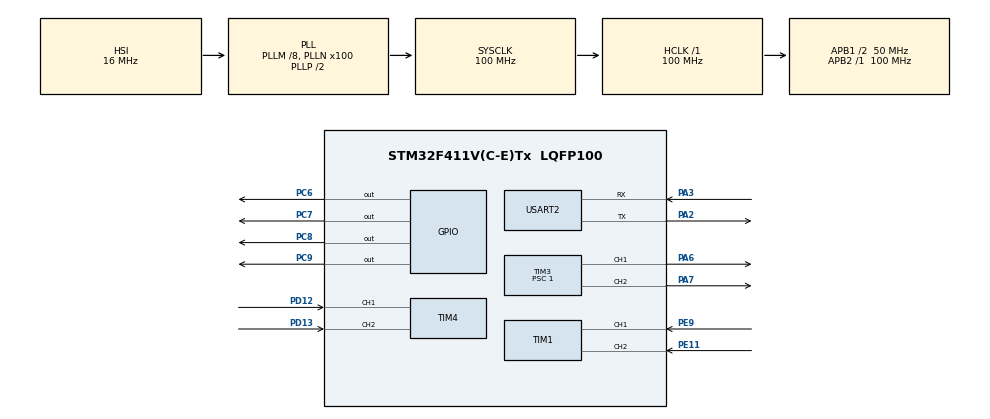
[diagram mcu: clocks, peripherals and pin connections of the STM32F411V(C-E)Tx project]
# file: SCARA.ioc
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Mcu.Family=STM32F4
Mcu.Name=STM32F411V(C-E)Tx
Mcu.Package=LQFP100
NVIC.PriorityGroup=NVIC_PRIORITYGROUP_4
NVIC.USART2_IRQn=true\:0\:0\:true\:false\:true\:true\:true
PA2.Mode=Asynchronous
PA2.Signal=USART2_TX
PA3.Mode=Asynchronous
PA3.Signal=USART2_RX
PA6.Signal=S_TIM3_CH1
PA7.Signal=S_TIM3_CH2
PC6.GPIO_Speed=GPIO_SPEED_FREQ_HIGH
PC6.Signal=GPIO_Output
PC7.GPIO_Speed=GPIO_SPEED_FREQ_HIGH
PC7.Signal=GPIO_Output
PC8.GPIO_Speed=GPIO_SPEED_FREQ_HIGH
PC8.Signal=GPIO_Output
PC9.GPIO_Speed=GPIO_SPEED_FREQ_HIGH
PC9.Signal=GPIO_Output
PD12.Signal=S_TIM4_CH1
PD13.Signal=S_TIM4_CH2
PE11.Signal=S_TIM1_CH2
PE9.Signal=S_TIM1_CH1
ProjectManager.HeapSize=0x200
ProjectManager.StackSize=0x400
ProjectManager.TargetToolchain=STM32CubeIDE
RCC.48MHZClocksFreq_Value=50000000
RCC.AHBFreq_Value=100000000
RCC.APB1CLKDivider=RCC_HCLK_DIV2
RCC.APB1Freq_Value=50000000
RCC.APB1TimFreq_Value=100000000
RCC.APB2Freq_Value=100000000
RCC.APB2TimFreq_Value=100000000
RCC.CortexFreq_Value=100000000
RCC.HCLKFreq_Value=100000000
RCC.HSE_VALUE=25000000
RCC.HSI_VALUE=16000000
RCC.LSE_VALUE=32768
RCC.PLLM=8
RCC.PLLN=100
RCC.SYSCLKFreq_VALUE=100000000
RCC.SYSCLKSource=RCC_SYSCLKSOURCE_PLLCLK
RCC.VCOOutputFreq_Value=200000000
SH.S_TIM1_CH1.0=TIM1_CH1,Encoder_Interface
SH.S_TIM1_CH2.0=TIM1_CH2,Encoder_Interface
SH.S_TIM3_CH1.0=TIM3_CH1,PWM Generation1 CH1
SH.S_TIM3_CH2.0=TIM3_CH2,PWM Generation2 CH2
SH.S_TIM4_CH1.0=TIM4_CH1,Encoder_Interface
SH.S_TIM4_CH2.0=TIM4_CH2,Encoder_Interface
TIM1.EncoderMode=TIM_ENCODERMODE_TI12
TIM3.Channel-PWM\ Generation1\ CH1=TIM_CHANNEL_1
TIM3.Channel-PWM\ Generation2\ CH2=TIM_CHANNEL_2
TIM3.OCFastMode_PWM-PWM\ Generation1\ CH1=TIM_OCFAST_DISABLE
TIM3.Period=254
TIM3.Prescaler=1
TIM3.Pulse-PWM\ Generation1\ CH1=0
TIM4.EncoderMode=TIM_ENCODERMODE_TI12
TIM4.IC1Filter=15
TIM4.IC2Filter=15
USART2.VirtualMode=VM_ASYNC
board=custom

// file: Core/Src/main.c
/* USER CODE BEGIN Header */
/**
  ******************************************************************************
  * @file           : main.c
  * @brief          : Main program body
  ******************************************************************************
  * @attention
  *
  * <h2><center>&copy; Copyright (c) 2021 STMicroelectronics.
  * All rights reserved.</center></h2>
  *
  * This software component is licensed by ST under BSD 3-Clause license,
  * the "License"; You may not use this file except in compliance with the
  * License. You may obtain a copy of the License at:
  *                        opensource.org/licenses/BSD-3-Clause
  *
  ******************************************************************************
  */
/* USER CODE END Header */
#include "main.h"

/* USER CODE BEGIN Includes */
#include "dc_driver.h"
#include "pid.h"
#include <stdio.h>
#include <stdlib.h>
/* USER CODE END Includes */

/* USER CODE BEGIN PD */
#define ENC_ZERO 32768
/* USER CODE END PD */

TIM_HandleTypeDef htim1;
TIM_HandleTypeDef htim3;
TIM_HandleTypeDef htim4;

UART_HandleTypeDef huart2;

/* USER CODE BEGIN PV */
long int ENCODER_POS, ENCODER_POS1;
volatile int flagTIM2 = 0;
int flagaMOVE = 0;
float u, u1;
int check;

//zmienne do obsługi komunikacji
volatile char rxBuf[50]; // Holding buffer with space for terminating NUL
volatile int cnt = 0;
volatile int flaga = 0;
volatile uint8_t str;
long int rPosition,rPosition1;
char buffer[24];

//zmienne do obsługi parsowania
int Data[3];
char id = 'a';
volatile int flagaParse = 0;
/* USER CODE END PV */

void SystemClock_Config(void);
static void MX_GPIO_Init(void);
static void MX_TIM3_Init(void);
static void MX_TIM4_Init(void);
static void MX_USART2_UART_Init(void);
static void MX_TIM1_Init(void);
/* USER CODE BEGIN PFP */
void encoder_position(){
	int diff=0;
	int pos1;

	pos1 = htim4.Instance->CNT;

	htim4.Instance->CNT = ENC_ZERO;

	diff = pos1 - ENC_ZERO;
	ENCODER_POS += diff;
}

void parse_ReceivedData() {

	//NOWE
			int x = 0;
			int init_size = strlen(rxBuf);
			char delim[] = " ";

			char *ptr = strtok(rxBuf, delim);
			id = *ptr;

				while (ptr != NULL) {
					//printf("'%s'\n", ptr);
					ptr = strtok(NULL, delim);
					Data[x++] = atoi(ptr);
					//sscanf(ptr, "%d", &data[x++]);
				}

				for (int i = 0; i < 50; i++)
					rxBuf[i] = NULL;
}

void sendEncoderData(long int enc,long int enc1)
{

	if(enc!=rPosition || enc1!=rPosition1)
	{
		sprintf(buffer, "E %i %i 5 55\r\n",enc,enc1);
		HAL_UART_Transmit(&huart2, buffer, strlen(buffer), 100);
		rPosition = enc;
		rPosition1 = enc1;
	}

}
/* USER CODE END PFP */

int main(void)
{

  /* MCU Configuration--------------------------------------------------------*/

  /* Reset of all peripherals, Initializes the Flash interface and the Systick. */
  HAL_Init();

  /* Configure the system clock */
  SystemClock_Config();

  /* Initialize all configured peripherals */
  MX_GPIO_Init();
  MX_TIM3_Init();
  MX_TIM4_Init();
  MX_USART2_UART_Init();
  MX_TIM1_Init();
  /* USER CODE BEGIN 2 */
  HAL_UART_Receive_IT(&huart2, &str, 1);
  __HAL_TIM_SET_COMPARE(&htim3,TIM_CHANNEL_1,0);
  __HAL_TIM_SET_COMPARE(&htim3,TIM_CHANNEL_2,0);
  moveStopJoint1();
  moveStopJoint2();
  HAL_TIM_PWM_Start(&htim3, TIM_CHANNEL_1);
  HAL_TIM_PWM_Start(&htim3, TIM_CHANNEL_2);
  HAL_TIM_Encoder_Start_IT(&htim4, TIM_CHANNEL_ALL);
  HAL_TIM_Encoder_Start_IT(&htim1, TIM_CHANNEL_ALL);
  //HAL_TIM_Base_Start_IT(&htim2);
  htim4.Instance->CNT = 0;//ENC_ZERO;
  pid_init(60.0,0.009,40.0);//(1.1,0.015,0.0005)25.0 (60.0,0.009,40.0)
  pid_init1(5,0,0);
  ENCODER_POS = 0;//ENC_ZERO;

  //HAL_Delay(2000);
  /* USER CODE END 2 */

  /* Infinite loop */
  while (1)
  {

    /* USER CODE BEGIN 3 */

	  if(flagaMOVE == 0)
	  {
		  //moveStopJoint1();
		  //moveStopJoint2();
		  //flagaMOVE = 0;
		  ENCODER_POS = TIM4->CNT;
		  ENCODER_POS1 = TIM1->CNT;
		  u = 0;
		  u1 = 0;
	  }

	  if(flagaParse == 1)
	  {

		  parse_ReceivedData();
		  if(id == 'I')
			  flagaMOVE = 1;

		  else if(id == 'M')
		  {
			  if(Data[0] == 1)
			  {
				  if(Data[1] == 1) setMotorSpeed1(&htim3, 110);

				  if(Data[1] == 2) setMotorSpeed1(&htim3, -110);
			  }

			  else if(Data[0] == 2)
			  {
				  if(Data[1] == 1) setMotorSpeed2(&htim3, 110);

				  if(Data[1] == 2) setMotorSpeed2(&htim3, -110);
			  }

		  }

		  else if(id == 'S') {moveStopJoint1(); moveStopJoint2();}
		  else if(id == 'E') {htim4.Instance->CNT = ENC_ZERO; htim1.Instance->CNT = ENC_ZERO;
		  	  	  	  	  	  ENCODER_POS = TIM4->CNT; ENCODER_POS1 = TIM1->CNT;}
		  flagaParse = 0;
	  }

	 if(flagaMOVE == 1)
	  {
		  u = pid_calculate(ENCODER_POS+Data[0],(TIM4->CNT));
		  setMotorSpeed1(&htim3,(int)u);
		  u1 = pid_calculate1(ENCODER_POS1+Data[1], (TIM1->CNT));
		  setMotorSpeed2(&htim3, (int)u1);
		  //int difference = ENCODER_POS+Data[0] - TIM4->CNT;
		  //int difference1 = ENCODER_POS1+Data[1] - TIM1->CNT;

		 /* if(abs(u)<60 && abs(u1) < 60)//if(abs(u)<60 && abs(u1) < 60)//if(abs(u)<1)if(difference<10 && difference>-10 && difference1<10 && difference1>-10)
		  	 {
		  	  	moveStopJoint1();
		  	  	moveStopJoint2();
		  	  	flagaMOVE = 0;
		  	  	ENCODER_POS = TIM4->CNT;
		  	  	ENCODER_POS1 = TIM1->CNT;
		  	  	u = 0;
		  	  	u1 = 0;
		  	  }*/
	  }

	 sendEncoderData(TIM4->CNT, TIM1->CNT);

	  			/*  u = pid_calculate(ENCODER_POS+1496,(TIM4->CNT));
	  			  setMotorSpeed1(&htim3,u);
	  	 if(abs(u)<60)
	  			{
	  				  moveStopJoint1();
	  				  flagaMOVE = 0;
	  				  //ENCODER_POS = TIM4->CNT;
	  			}*/

	 /*if(flagTIM2)
		  {
			  u = pid_calculate(ENCODER_POS+1496,(TIM4->CNT));
			  setMotorSpeed1(&htim3,u);
			  flagTIM2 = 0;

		  }
	 if(abs(u)<60)
			{
				  moveStopJoint1();
				  flagaMOVE = 0;
				  //ENCODER_POS = TIM4->CNT;
			}*/

  }
  /* USER CODE END 3 */
}

void SystemClock_Config(void)
{
  RCC_OscInitTypeDef RCC_OscInitStruct = {0};
  RCC_ClkInitTypeDef RCC_ClkInitStruct = {0};

  /** Configure the main internal regulator output voltage
  */
  __HAL_RCC_PWR_CLK_ENABLE();
  __HAL_PWR_VOLTAGESCALING_CONFIG(PWR_REGULATOR_VOLTAGE_SCALE1);
  /** Initializes the RCC Oscillators according to the specified parameters
  * in the RCC_OscInitTypeDef structure.
  */
  RCC_OscInitStruct.OscillatorType = RCC_OSCILLATORTYPE_HSI;
  RCC_OscInitStruct.HSIState = RCC_HSI_ON;
  RCC_OscInitStruct.HSICalibrationValue = RCC_HSICALIBRATION_DEFAULT;
  RCC_OscInitStruct.PLL.PLLState = RCC_PLL_ON;
  RCC_OscInitStruct.PLL.PLLSource = RCC_PLLSOURCE_HSI;
  RCC_OscInitStruct.PLL.PLLM = 8;
  RCC_OscInitStruct.PLL.PLLN = 100;
  RCC_OscInitStruct.PLL.PLLP = RCC_PLLP_DIV2;
  RCC_OscInitStruct.PLL.PLLQ = 4;
  if (HAL_RCC_OscConfig(&RCC_OscInitStruct) != HAL_OK)
  {
    Error_Handler();
  }
  /** Initializes the CPU, AHB and APB buses clocks
  */
  RCC_ClkInitStruct.ClockType = RCC_CLOCKTYPE_HCLK|RCC_CLOCKTYPE_SYSCLK
                              |RCC_CLOCKTYPE_PCLK1|RCC_CLOCKTYPE_PCLK2;
  RCC_ClkInitStruct.SYSCLKSource = RCC_SYSCLKSOURCE_PLLCLK;
  RCC_ClkInitStruct.AHBCLKDivider = RCC_SYSCLK_DIV1;
  RCC_ClkInitStruct.APB1CLKDivider = RCC_HCLK_DIV2;
  RCC_ClkInitStruct.APB2CLKDivider = RCC_HCLK_DIV1;

  if (HAL_RCC_ClockConfig(&RCC_ClkInitStruct, FLASH_LATENCY_3) != HAL_OK)
  {
    Error_Handler();
  }
}

static void MX_TIM1_Init(void)
{

  TIM_Encoder_InitTypeDef sConfig = {0};
  TIM_MasterConfigTypeDef sMasterConfig = {0};

  htim1.Instance = TIM1;
  htim1.Init.Prescaler = 0;
  htim1.Init.CounterMode = TIM_COUNTERMODE_UP;
  htim1.Init.Period = 65535;
  htim1.Init.ClockDivision = TIM_CLOCKDIVISION_DIV1;
  htim1.Init.RepetitionCounter = 0;
  htim1.Init.AutoReloadPreload = TIM_AUTORELOAD_PRELOAD_DISABLE;
  sConfig.EncoderMode = TIM_ENCODERMODE_TI12;
  sConfig.IC1Polarity = TIM_ICPOLARITY_RISING;
  sConfig.IC1Selection = TIM_ICSELECTION_DIRECTTI;
  sConfig.IC1Prescaler = TIM_ICPSC_DIV1;
  sConfig.IC1Filter = 0;
  sConfig.IC2Polarity = TIM_ICPOLARITY_RISING;
  sConfig.IC2Selection = TIM_ICSELECTION_DIRECTTI;
  sConfig.IC2Prescaler = TIM_ICPSC_DIV1;
  sConfig.IC2Filter = 0;
  if (HAL_TIM_Encoder_Init(&htim1, &sConfig) != HAL_OK)
  {
    Error_Handler();
  }
  sMasterConfig.MasterOutputTrigger = TIM_TRGO_RESET;
  sMasterConfig.MasterSlaveMode = TIM_MASTERSLAVEMODE_DISABLE;
  if (HAL_TIMEx_MasterConfigSynchronization(&htim1, &sMasterConfig) != HAL_OK)
  {
    Error_Handler();
  }

}

static void MX_TIM3_Init(void)
{

  TIM_MasterConfigTypeDef sMasterConfig = {0};
  TIM_OC_InitTypeDef sConfigOC = {0};

  htim3.Instance = TIM3;
  htim3.Init.Prescaler = 1;
  htim3.Init.CounterMode = TIM_COUNTERMODE_UP;
  htim3.Init.Period = 254;
  htim3.Init.ClockDivision = TIM_CLOCKDIVISION_DIV1;
  htim3.Init.AutoReloadPreload = TIM_AUTORELOAD_PRELOAD_DISABLE;
  if (HAL_TIM_PWM_Init(&htim3) != HAL_OK)
  {
    Error_Handler();
  }
  sMasterConfig.MasterOutputTrigger = TIM_TRGO_RESET;
  sMasterConfig.MasterSlaveMode = TIM_MASTERSLAVEMODE_DISABLE;
  if (HAL_TIMEx_MasterConfigSynchronization(&htim3, &sMasterConfig) != HAL_OK)
  {
    Error_Handler();
  }
  sConfigOC.OCMode = TIM_OCMODE_PWM1;
  sConfigOC.Pulse = 0;
  sConfigOC.OCPolarity = TIM_OCPOLARITY_HIGH;
  sConfigOC.OCFastMode = TIM_OCFAST_DISABLE;
  if (HAL_TIM_PWM_ConfigChannel(&htim3, &sConfigOC, TIM_CHANNEL_1) != HAL_OK)
  {
    Error_Handler();
  }
  if (HAL_TIM_PWM_ConfigChannel(&htim3, &sConfigOC, TIM_CHANNEL_2) != HAL_OK)
  {
    Error_Handler();
  }
  HAL_TIM_MspPostInit(&htim3);

}

static void MX_TIM4_Init(void)
{

  TIM_Encoder_InitTypeDef sConfig = {0};
  TIM_MasterConfigTypeDef sMasterConfig = {0};

  htim4.Instance = TIM4;
  htim4.Init.Prescaler = 0;
  htim4.Init.CounterMode = TIM_COUNTERMODE_UP;
  htim4.Init.Period = 65535;
  htim4.Init.ClockDivision = TIM_CLOCKDIVISION_DIV1;
  htim4.Init.AutoReloadPreload = TIM_AUTORELOAD_PRELOAD_DISABLE;
  sConfig.EncoderMode = TIM_ENCODERMODE_TI12;
  sConfig.IC1Polarity = TIM_ICPOLARITY_RISING;
  sConfig.IC1Selection = TIM_ICSELECTION_DIRECTTI;
  sConfig.IC1Prescaler = TIM_ICPSC_DIV1;
  sConfig.IC1Filter = 15;
  sConfig.IC2Polarity = TIM_ICPOLARITY_RISING;
  sConfig.IC2Selection = TIM_ICSELECTION_DIRECTTI;
  sConfig.IC2Prescaler = TIM_ICPSC_DIV1;
  sConfig.IC2Filter = 15;
  if (HAL_TIM_Encoder_Init(&htim4, &sConfig) != HAL_OK)
  {
    Error_Handler();
  }
  sMasterConfig.MasterOutputTrigger = TIM_TRGO_RESET;
  sMasterConfig.MasterSlaveMode = TIM_MASTERSLAVEMODE_DISABLE;
  if (HAL_TIMEx_MasterConfigSynchronization(&htim4, &sMasterConfig) != HAL_OK)
  {
    Error_Handler();
  }

}

static void MX_USART2_UART_Init(void)
{

  huart2.Instance = USART2;
  huart2.Init.BaudRate = 115200;
  huart2.Init.WordLength = UART_WORDLENGTH_8B;
  huart2.Init.StopBits = UART_STOPBITS_1;
  huart2.Init.Parity = UART_PARITY_NONE;
  huart2.Init.Mode = UART_MODE_TX_RX;
  huart2.Init.HwFlowCtl = UART_HWCONTROL_NONE;
  huart2.Init.OverSampling = UART_OVERSAMPLING_16;
  if (HAL_UART_Init(&huart2) != HAL_OK)
  {
    Error_Handler();
  }

}

static void MX_GPIO_Init(void)
{
  GPIO_InitTypeDef GPIO_InitStruct = {0};

  /* GPIO Ports Clock Enable */
  __HAL_RCC_GPIOA_CLK_ENABLE();
  __HAL_RCC_GPIOE_CLK_ENABLE();
  __HAL_RCC_GPIOD_CLK_ENABLE();
  __HAL_RCC_GPIOC_CLK_ENABLE();

  /*Configure GPIO pin Output Level */
  HAL_GPIO_WritePin(GPIOC, GPIO_PIN_6|GPIO_PIN_7|GPIO_PIN_8|GPIO_PIN_9, GPIO_PIN_RESET);

  /*Configure GPIO pins : PC6 PC7 PC8 PC9 */
  GPIO_InitStruct.Pin = GPIO_PIN_6|GPIO_PIN_7|GPIO_PIN_8|GPIO_PIN_9;
  GPIO_InitStruct.Mode = GPIO_MODE_OUTPUT_PP;
  GPIO_InitStruct.Pull = GPIO_NOPULL;
  GPIO_InitStruct.Speed = GPIO_SPEED_FREQ_HIGH;
  HAL_GPIO_Init(GPIOC, &GPIO_InitStruct);

}

/* USER CODE BEGIN 4 */
/*void HAL_TIM_PeriodElapsedCallback(TIM_HandleTypeDef *htim){

	if(htim->Instance == TIM2)
	{
		flagTIM2 = 1;
	}

}*/

void HAL_UART_RxCpltCallback(UART_HandleTypeDef *huart)
{
	if(flaga ==1)
		{
		if((str != 'R'))
		{
			rxBuf[cnt] = str;
			cnt++;
		}
		else{
			rxBuf[cnt++] = '\r';
			rxBuf[cnt] = '\n';
			cnt = 0;
			//if(rxBuf[0] == 'I' || rxBuf[0] == 'F')
			flaga =0 ;
			//HAL_UART_Transmit(&huart2, rxBuf, strlen(rxBuf), 100);
			flagaParse = 1;
			flagaMOVE = 0;
		}
		}

	if(str == 'I' || str == 'F' || str == 'S' || str == 'M' || str == 'E')
	{
		flaga =1;
		rxBuf[cnt] = str;
		cnt++;
	}

	HAL_UART_Receive_IT(&huart2, &str, 1);
}
/* USER CODE END 4 */

void Error_Handler(void)
{
  __disable_irq();
  while (1)
  {
  }
}

/************************ (C) COPYRIGHT STMicroelectronics *****END OF FILE****/
